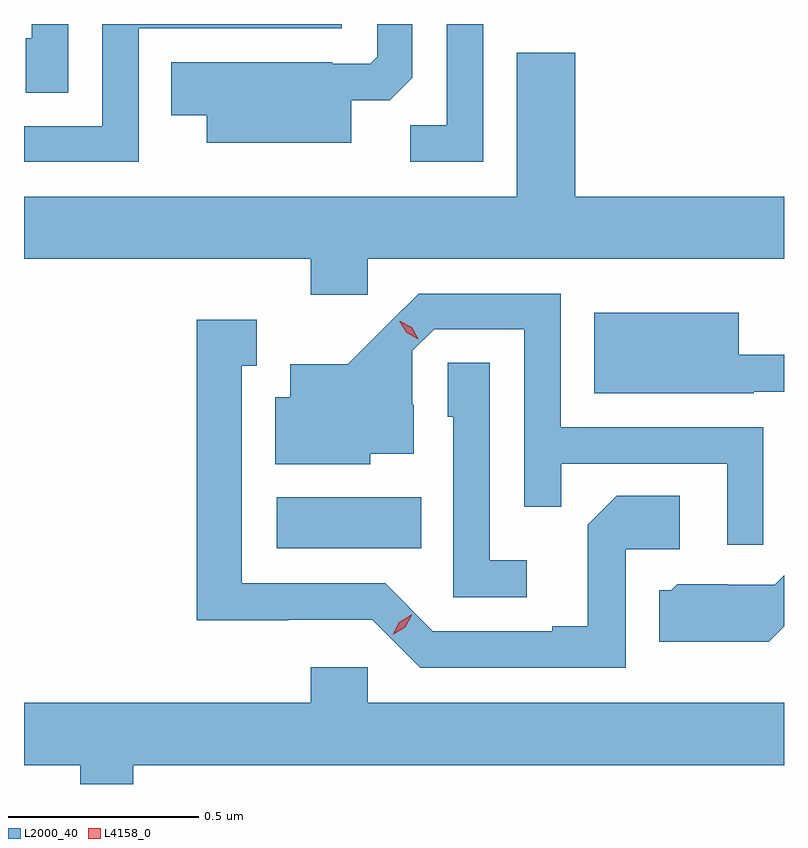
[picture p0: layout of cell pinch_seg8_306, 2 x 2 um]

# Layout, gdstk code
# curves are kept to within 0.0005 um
import gdstk
lib = gdstk.Library(unit=1e-6, precision=1e-09)
def R(c, l, rs):  # rectangles x0, y0, x1, y1
    for r in rs: c.add(gdstk.rectangle(r[:2], r[2:], *l))
def P(c, l, *ps):  # polygons
    for p in ps: c.add(gdstk.Polygon(p, *l))
L2000_40 = (2000, 40)
L4158_0 = (4158, 0)

pinch_seg8_306 = lib.new_cell('pinch_seg8_306')
R(pinch_seg8_306, L2000_40, [(537.642,1142.378,538.022,1142.512)])
P(pinch_seg8_306, L2000_40, [(538.185,1143.758),(538.089,1143.758),(538.089,1143.491),(537.994,1143.491),(537.994,1143.396),(538.185,1143.396)],
  [(537.279,1143.747),(537.813,1143.747),(537.813,1143.758),(537.183,1143.758),(537.183,1143.489),(536.977,1143.489),(536.977,1143.396),(537.279,1143.396)],
  [(537.838,1143.557),(537.94,1143.557),(537.999,1143.616),(537.999,1143.758),(537.906,1143.758),(537.906,1143.672),(537.888,1143.654),(537.788,1143.654),(537.788,1143.658),(537.364,1143.658),(537.364,1143.518),(537.458,1143.518),(537.458,1143.446),(537.838,1143.446)],
  [(537.093,1143.758),(536.997,1143.758),(536.997,1143.72),(536.982,1143.72),(536.982,1143.577),(537.093,1143.577)],
  [(537.882,1143.14),(538.977,1143.14),(538.977,1143.304),(538.427,1143.304),(538.427,1143.682),(538.274,1143.682),(538.274,1143.304),(536.977,1143.304),(536.977,1143.14),(537.731,1143.14),(537.731,1143.045),(537.882,1143.045)],
  [(538.923,1142.697),(538.389,1142.697),(538.389,1143.048),(538.016,1143.048),(537.829,1142.863),(537.677,1142.863),(537.677,1142.776),(537.638,1142.776),(537.638,1142.6),(537.888,1142.6),(537.888,1142.627),(538.003,1142.627),(538.003,1142.756),(537.999,1142.756),(537.999,1142.898),(538.056,1142.955),(538.293,1142.955),(538.293,1142.488),(538.391,1142.488),(538.391,1142.601),(538.827,1142.601),(538.827,1142.388),(538.923,1142.388)],
  [(538.898,1142.79),(538.977,1142.79),(538.977,1142.887),(538.858,1142.887),(538.858,1142.998),(538.478,1142.998),(538.478,1142.786),(538.898,1142.786)],
  [(538.56,1142.376),(538.702,1142.376),(538.702,1142.516),(538.537,1142.516),(538.461,1142.44),(538.461,1142.173),(538.367,1142.173),(538.367,1142.16),(538.053,1142.16),(537.927,1142.286),(537.55,1142.286),(537.55,1142.859),(537.589,1142.859),(537.589,1142.98),(537.432,1142.98),(537.432,1142.189),(537.672,1142.189),(537.672,1142.19),(537.894,1142.19),(538.02,1142.064),(538.56,1142.064)],
  [(538.3,1142.347),(538.203,1142.347),(538.203,1142.867),(538.092,1142.867),(538.092,1142.724),(538.107,1142.724),(538.107,1142.25),(538.3,1142.25)],
  [(538.977,1142.173),(538.977,1142.307),(538.953,1142.283),(538.83,1142.283),(538.83,1142.284),(538.696,1142.284),(538.68,1142.268),(538.649,1142.268),(538.649,1142.132),(538.937,1142.132)],
  [(537.265,1141.808),(538.977,1141.808),(538.977,1141.972),(537.882,1141.972),(537.882,1142.065),(537.731,1142.065),(537.731,1141.972),(536.977,1141.972),(536.977,1141.808),(537.125,1141.808),(537.125,1141.758),(537.265,1141.758)])
P(pinch_seg8_306, L4158_0, [(538.014,1142.929),(537.984,1142.945),(537.966,1142.975),(537.966,1142.976),(537.967,1142.976),(537.998,1142.96),(538.015,1142.93),(538.015,1142.929)],
  [(537.948,1142.151),(537.948,1142.151),(537.965,1142.184),(537.996,1142.203),(537.997,1142.203),(537.997,1142.202),(537.98,1142.17),(537.948,1142.151)])

lib.write_gds('pinch_seg8_306.gds')
